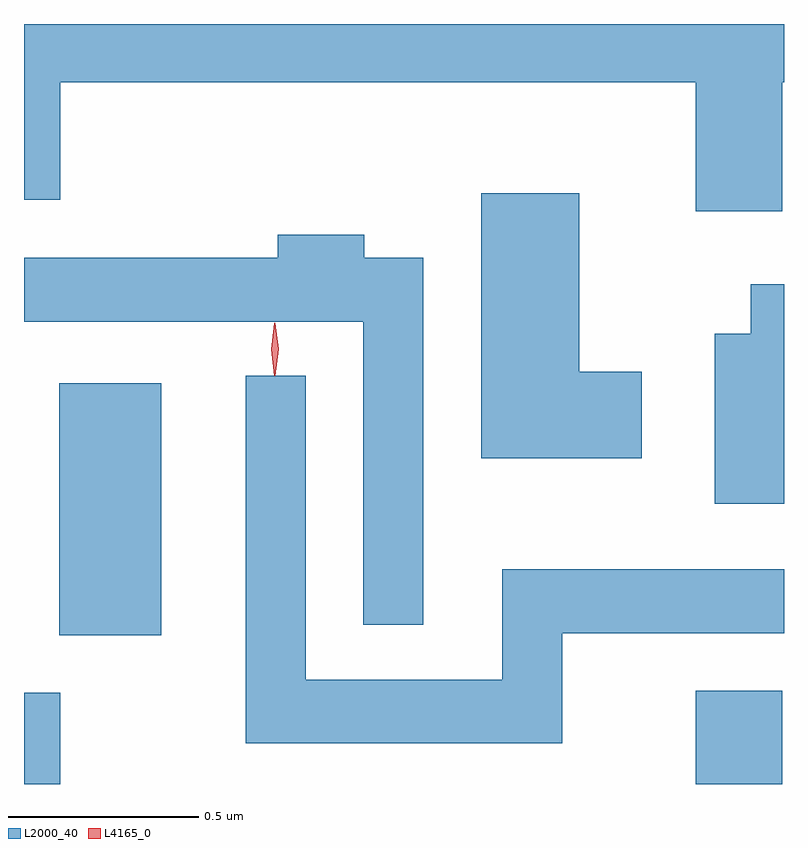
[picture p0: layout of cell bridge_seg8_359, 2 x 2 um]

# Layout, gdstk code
import gdstk
lib = gdstk.Library(unit=1e-6, precision=1e-09)
def R(c, l, rs):  # rectangles x0, y0, x1, y1
    for r in rs: c.add(gdstk.rectangle(r[:2], r[2:], *l))
def P(c, l, *ps):  # polygons
    for p in ps: c.add(gdstk.Polygon(p, *l))
L2000_40 = (2000, 40)
L4165_0 = (4165, 0)

bridge_seg8_359 = lib.new_cell('bridge_seg8_359')
R(bridge_seg8_359, L2000_40, [(693.583,1878.969,693.679,1879.209), (695.351,1878.969,695.579,1879.214), (693.676,1879.361,693.944,1880.024)])
P(bridge_seg8_359, L2000_40, [(695.579,1880.816),(695.583,1880.816),(695.583,1880.969),(693.583,1880.969),(693.583,1880.506),(693.679,1880.506),(693.679,1880.816),(695.351,1880.816),(695.351,1880.476),(695.579,1880.476)],
  [(695.209,1880.054),(695.044,1880.054),(695.044,1880.524),(694.786,1880.524),(694.786,1879.826),(695.209,1879.826)],
  [(694.634,1880.354),(694.479,1880.354),(694.479,1880.414),(694.251,1880.414),(694.251,1880.354),(693.583,1880.354),(693.583,1880.186),(694.476,1880.186),(694.476,1879.388),(694.634,1879.388)],
  [(695.583,1880.284),(695.496,1880.284),(695.496,1880.154),(695.401,1880.154),(695.401,1879.706),(695.583,1879.706)],
  [(694.999,1879.366),(695.583,1879.366),(695.583,1879.534),(694.841,1879.534),(694.841,1879.244),(694.324,1879.244),(694.324,1880.043),(694.166,1880.043),(694.166,1879.076),(694.999,1879.076)])
P(bridge_seg8_359, L4165_0, [(694.243,1880.043),(694.242,1880.044),(694.233,1880.113),(694.242,1880.182),(694.243,1880.183),(694.244,1880.182),(694.253,1880.113),(694.244,1880.044)],
  [(694.244,1880.047),(694.243,1880.048),(694.234,1880.114),(694.243,1880.18),(694.244,1880.18),(694.244,1880.18),(694.254,1880.114),(694.244,1880.048)])

lib.write_gds('bridge_seg8_359.gds')
